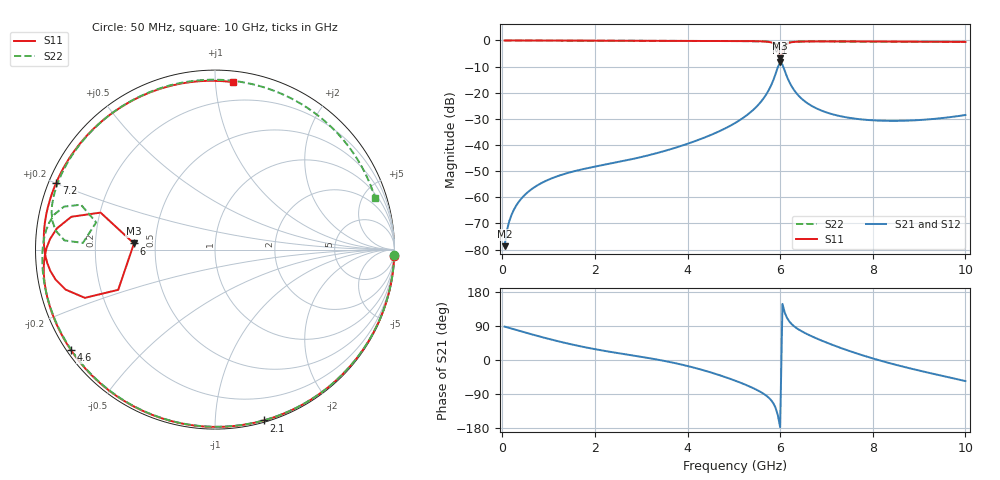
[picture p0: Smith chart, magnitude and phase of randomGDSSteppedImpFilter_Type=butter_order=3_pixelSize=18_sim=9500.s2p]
! freq	dB(S11)	phase(S11)	dB(S12)	phase(S12)
!  dB(S21)	phase(S21)	dB(S22)	phase(S22)
!S-par simulation data
#  GHz  S  DB  R 50
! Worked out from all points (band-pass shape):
!   200 points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, 50 MHz to 10 GHz, reference 50 ohm
!   highest |S21| = -8.42 dB at 6 GHz (marker M1); lowest = -78.7 dB at 50 MHz (marker M2)
!   |S21| within 3 dB of the highest: 5.927 GHz to 6.095 GHz (168.2 MHz wide, 2.8 % of centre)
!   lowest |S11| = -6.9 dB at 6 GHz (marker M3), VSWR 2.65, Z = 18.9 + j1.62 ohm
!   |S11| at or under -10 dB: nowhere
!   |S22| runs from -3.4 to 0.0 dB; largest |S21 - S12| = 0
!   S11 on the Smith chart (normalised r, x): 50 MHz: 1, -60; 2.1 GHz: 0.01, -1.32; 4.6 GHz: 0.01, -0.31; 6 GHz: 0.38, +0.03; 7.2 GHz: 0.02, +0.20; 10 GHz: 0.07, +1.11
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0.05  -0.01 -1.9  -78.68 88.2  -78.68 88.2  -0.00 -1.7
0.1  -0.01 -3.8  -72.67 86.4  -72.67 86.4  -0.01 -3.4
0.2  -0.01 -7.5  -66.67 82.9  -66.67 82.9  -0.01 -6.7
0.5  -0.02 -18.6  -58.84 72.4  -58.84 72.4  -0.02 -16.8
1  -0.04 -36.7  -53.23 55.8  -53.23 55.8  -0.04 -33.3
1.75  -0.08 -62.6  -49.19 34.5  -49.19 34.5  -0.07 -57.6
2.1  -0.09 -74.1  -47.90 26.4  -47.90 26.4  -0.09 -68.8
3.4  -0.13 -113.0  -42.79 -0.1  -42.79 -0.1  -0.14 -109.1
4.6  -0.19 -145.1  -35.42 -36.5  -35.42 -36.5  -0.21 -146.1
5.05  -0.22 -157.0  -31.34 -55.5  -31.34 -55.5  -0.25 -160.5
5.5  -0.30 -170.1  -25.15 -79.2  -25.15 -79.2  -0.31 -176.1
5.8  -0.71 176.4  -17.37 -105.3  -17.37 -105.3  -0.58 170.7
5.95  -3.48 162.1  -10.20 -145.6  -10.20 -145.6  -2.07 161.5
6  -6.88 175.7  -8.42 -177.3  -8.42 -177.3  -3.36 167.1
6.05  -4.67 -157.4  -9.26 148.1  -9.26 148.1  -2.65 177.1
6.1  -2.24 -159.7  -11.64 124.7  -11.64 124.7  -1.51 176.5
6.35  -0.49 -177.7  -20.15 84.5  -20.15 84.5  -0.48 162.4
6.7  -0.36 170.5  -25.23 61.5  -25.23 61.5  -0.41 148.2
7.2  -0.35 157.1  -28.56 36.7  -28.56 36.7  -0.42 129.1
8.35  -0.42 128.0  -30.76 -7.9  -30.76 -7.9  -0.48 83.6
9.1  -0.48 108.5  -30.33 -30.7  -30.33 -30.7  -0.52 53.1
10  -0.55 83.8  -28.52 -55.6  -28.52 -55.6  -0.56 17.9
